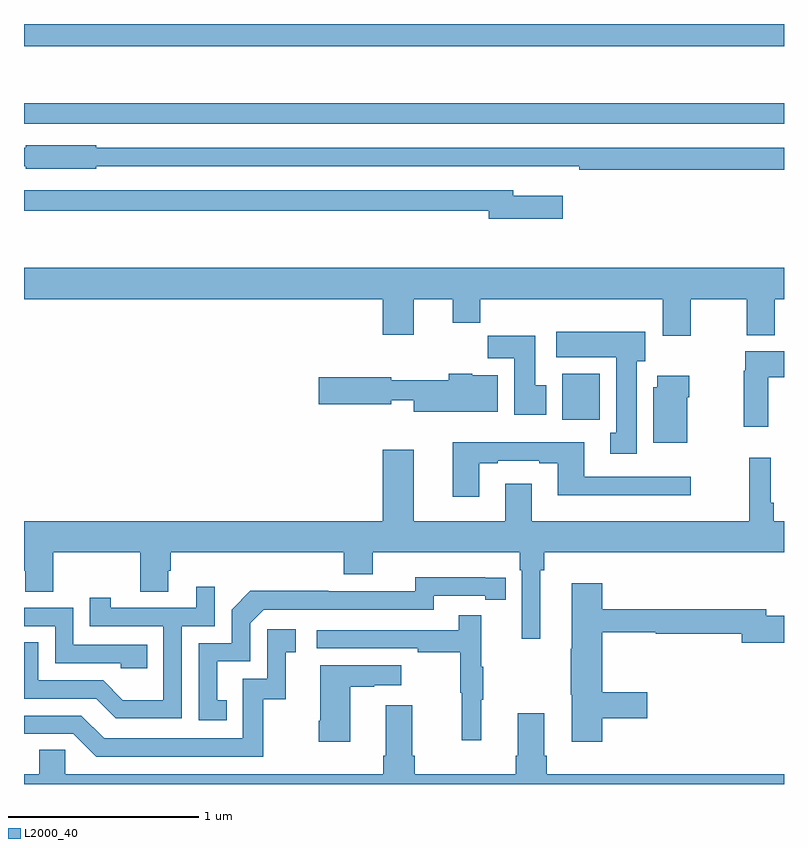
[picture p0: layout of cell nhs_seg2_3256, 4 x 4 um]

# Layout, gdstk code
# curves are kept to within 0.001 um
import gdstk
lib = gdstk.Library(unit=1e-6, precision=1e-09)
def R(c, l, rs):  # rectangles x0, y0, x1, y1
    for r in rs: c.add(gdstk.rectangle(r[:2], r[2:], *l))
def P(c, l, *ps):  # polygons
    for p in ps: c.add(gdstk.Polygon(p, *l))
L2000_40 = (2000, 40)

nhs_seg2_3256 = lib.new_cell('nhs_seg2_3256')
R(nhs_seg2_3256, L2000_40, [(285.833,597.716,286.03,597.958), (283,599.274,287,599.383), (283,599.684,287,599.8)])
P(nhs_seg2_3256, L2000_40, [(287,599.148),(283.38,599.148),(283.38,599.161),(283.008,599.161),(283.008,599.148),(283,599.148),(283,599.052),(283.008,599.052),(283.008,599.039),(283.38,599.039),(283.38,599.052),(285.67,599.052),(285.67,599.051),(285.922,599.051),(285.922,599.032),(287,599.032)],
  [(285.835,598.897),(285.574,598.897),(285.574,598.926),(283,598.926),(283,598.818),(285.446,598.818),(285.446,598.775),(285.835,598.775)],
  [(286.509,598.352),(286.804,598.352),(286.804,598.163),(286.951,598.163),(286.951,598.352),(287,598.352),(287,598.516),(283,598.516),(283,598.352),(284.888,598.352),(284.888,598.164),(285.052,598.164),(285.052,598.352),(285.257,598.352),(285.257,598.228),(285.401,598.228),(285.401,598.352),(286.361,598.352),(286.361,598.158),(286.509,598.158)],
  [(286.225,598.026),(286.27,598.026),(286.27,598.18),(285.801,598.18),(285.801,598.046),(286.118,598.046),(286.118,597.65),(286.085,597.65),(286.085,597.537),(286.225,597.537)],
  [(285.748,597.9),(285.691,597.9),(285.691,598.159),(285.442,598.159),(285.442,598.04),(285.581,598.04),(285.581,597.744),(285.748,597.744)],
  [(286.918,597.94),(287,597.94),(287,598.078),(286.796,598.078),(286.796,597.974),(286.789,597.974),(286.789,597.681),(286.918,597.681)],
  [(285.493,597.952),(285.36,597.952),(285.36,597.958),(285.235,597.958),(285.235,597.924),(284.934,597.924),(284.934,597.942),(284.55,597.942),(284.55,597.8),(284.934,597.8),(284.934,597.82),(285.05,597.82),(285.05,597.758),(285.493,597.758)],
  [(286.492,597.836),(286.5,597.836),(286.5,597.949),(286.334,597.949),(286.334,597.888),(286.313,597.888),(286.313,597.596),(286.492,597.596)],
  [(285.397,597.489),(285.493,597.489),(285.493,597.501),(285.713,597.501),(285.713,597.489),(285.809,597.489),(285.809,597.32),(286.51,597.32),(286.51,597.417),(285.949,597.417),(285.949,597.598),(285.257,597.598),(285.257,597.312),(285.397,597.312)],
  [(285.718,596.924),(285.737,596.924),(285.737,597.02),(287,597.02),(287,597.184),(286.946,597.184),(286.946,597.28),(286.931,597.28),(286.931,597.517),(286.818,597.517),(286.818,597.184),(285.673,597.184),(285.673,597.379),(285.533,597.379),(285.533,597.184),(285.052,597.184),(285.052,597.559),(284.888,597.559),(284.888,597.184),(283,597.184),(283,596.922),(283.007,596.922),(283.007,596.812),(283.155,596.812),(283.155,597.02),(283.612,597.02),(283.612,596.812),(283.759,596.812),(283.759,596.922),(283.772,596.922),(283.772,597.02),(284.684,597.02),(284.684,596.903),(284.836,596.903),(284.836,597.02),(285.608,597.02),(285.608,596.924),(285.621,596.924),(285.621,596.565),(285.718,596.565)],
  [(284.066,596.241),(284.017,596.241),(284.017,596.445),(284.19,596.445),(284.19,596.646),(284.262,596.718),(285.156,596.718),(285.156,596.79),(285.428,596.79),(285.428,596.77),(285.536,596.77),(285.536,596.886),(285.06,596.887),(285.06,596.814),(284.6,596.814),(284.6,596.816),(284.192,596.816),(284.094,596.718),(284.094,596.541),(283.92,596.541),(283.92,596.136),(284.066,596.136)],
  [(286.043,596.146),(286.279,596.146),(286.279,596.283),(286.043,596.283),(286.043,596.598),(286.326,596.598),(286.326,596.59),(286.778,596.59),(286.778,596.543),(287,596.543),(287,596.685),(286.906,596.685),(286.906,596.719),(286.043,596.719),(286.043,596.857),(285.884,596.857),(285.884,596.513),(285.877,596.513),(285.877,596.271),(285.884,596.271),(285.884,596.022),(286.043,596.022)],
  [(283.83,596.631),(284.004,596.631),(284.004,596.839),(283.907,596.839),(283.907,596.727),(283.456,596.727),(283.456,596.779),(283.345,596.779),(283.345,596.631),(283.734,596.631),(283.734,596.242),(283.52,596.242),(283.416,596.346),(283.074,596.346),(283.074,596.545),(283,596.545),(283,596.25),(283.379,596.25),(283.484,596.145),(283.83,596.145)],
  [(283.649,596.532),(283.26,596.532),(283.26,596.727),(283,596.727),(283,596.631),(283.164,596.631),(283.164,596.436),(283.509,596.436),(283.509,596.409),(283.649,596.409)],
  [(285.407,596.243),(285.418,596.243),(285.418,596.417),(285.407,596.417),(285.407,596.689),(285.289,596.689),(285.289,596.61),(284.541,596.61),(284.541,596.514),(285.073,596.514),(285.073,596.494),(285.297,596.494),(285.297,596.28),(285.304,596.28),(285.304,596.031),(285.407,596.031)],
  [(284.26,596.247),(284.378,596.247),(284.378,596.493),(284.431,596.493),(284.431,596.614),(284.28,596.614),(284.28,596.355),(284.151,596.355),(284.151,596.04),(283.422,596.04),(283.302,596.16),(283,596.16),(283,596.064),(283.26,596.064),(283.38,595.944),(284.26,595.944)],
  [(284.716,596.311),(284.843,596.311),(284.843,596.321),(284.986,596.321),(284.986,596.425),(284.558,596.425),(284.558,596.134),(284.551,596.134),(284.551,596.022),(284.716,596.022)],
  [(287,595.852),(285.752,595.852),(285.752,595.948),(285.739,595.948),(285.739,596.173),(285.599,596.173),(285.599,595.948),(285.587,595.948),(285.587,595.852),(285.056,595.852),(285.056,595.948),(285.043,595.948),(285.043,596.215),(284.903,596.215),(284.903,595.948),(284.891,595.948),(284.891,595.852),(283.218,595.852),(283.218,595.979),(283.079,595.979),(283.079,595.852),(283,595.852),(283,595.8),(287,595.8)])

lib.write_gds('nhs_seg2_3256.gds')
